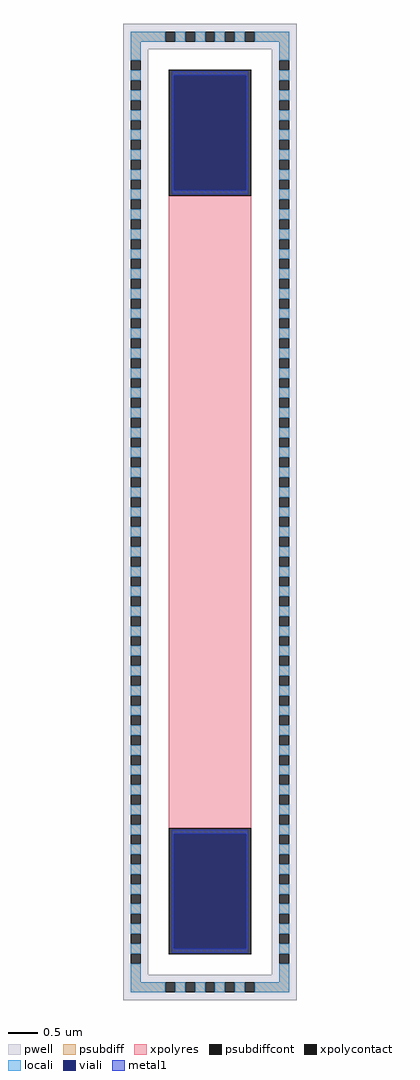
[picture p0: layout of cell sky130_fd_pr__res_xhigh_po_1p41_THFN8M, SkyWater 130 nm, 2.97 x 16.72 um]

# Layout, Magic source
magic
tech sky130A
magscale 1 2
<< pwell >>
rect -297 1586 297 1672
rect -297 -1586 -211 1586
rect 211 -1586 297 1586
rect -297 -1672 297 -1586
<< psubdiff >>
rect -271 1612 -153 1646
rect -119 1612 -85 1646
rect -51 1612 -17 1646
rect 17 1612 51 1646
rect 85 1612 119 1646
rect 153 1612 271 1646
rect -271 1547 -237 1612
rect 237 1547 271 1612
rect -271 1479 -237 1513
rect -271 1411 -237 1445
rect -271 1343 -237 1377
rect -271 1275 -237 1309
rect -271 1207 -237 1241
rect -271 1139 -237 1173
rect -271 1071 -237 1105
rect -271 1003 -237 1037
rect -271 935 -237 969
rect -271 867 -237 901
rect -271 799 -237 833
rect -271 731 -237 765
rect -271 663 -237 697
rect -271 595 -237 629
rect -271 527 -237 561
rect -271 459 -237 493
rect -271 391 -237 425
rect -271 323 -237 357
rect -271 255 -237 289
rect -271 187 -237 221
rect -271 119 -237 153
rect -271 51 -237 85
rect -271 -17 -237 17
rect -271 -85 -237 -51
rect -271 -153 -237 -119
rect -271 -221 -237 -187
rect -271 -289 -237 -255
rect -271 -357 -237 -323
rect -271 -425 -237 -391
rect -271 -493 -237 -459
rect -271 -561 -237 -527
rect -271 -629 -237 -595
rect -271 -697 -237 -663
rect -271 -765 -237 -731
rect -271 -833 -237 -799
rect -271 -901 -237 -867
rect -271 -969 -237 -935
rect -271 -1037 -237 -1003
rect -271 -1105 -237 -1071
rect -271 -1173 -237 -1139
rect -271 -1241 -237 -1207
rect -271 -1309 -237 -1275
rect -271 -1377 -237 -1343
rect -271 -1445 -237 -1411
rect -271 -1513 -237 -1479
rect 237 1479 271 1513
rect 237 1411 271 1445
rect 237 1343 271 1377
rect 237 1275 271 1309
rect 237 1207 271 1241
rect 237 1139 271 1173
rect 237 1071 271 1105
rect 237 1003 271 1037
rect 237 935 271 969
rect 237 867 271 901
rect 237 799 271 833
rect 237 731 271 765
rect 237 663 271 697
rect 237 595 271 629
rect 237 527 271 561
rect 237 459 271 493
rect 237 391 271 425
rect 237 323 271 357
rect 237 255 271 289
rect 237 187 271 221
rect 237 119 271 153
rect 237 51 271 85
rect 237 -17 271 17
rect 237 -85 271 -51
rect 237 -153 271 -119
rect 237 -221 271 -187
rect 237 -289 271 -255
rect 237 -357 271 -323
rect 237 -425 271 -391
rect 237 -493 271 -459
rect 237 -561 271 -527
rect 237 -629 271 -595
rect 237 -697 271 -663
rect 237 -765 271 -731
rect 237 -833 271 -799
rect 237 -901 271 -867
rect 237 -969 271 -935
rect 237 -1037 271 -1003
rect 237 -1105 271 -1071
rect 237 -1173 271 -1139
rect 237 -1241 271 -1207
rect 237 -1309 271 -1275
rect 237 -1377 271 -1343
rect 237 -1445 271 -1411
rect 237 -1513 271 -1479
rect -271 -1612 -237 -1547
rect 237 -1612 271 -1547
rect -271 -1646 -153 -1612
rect -119 -1646 -85 -1612
rect -51 -1646 -17 -1612
rect 17 -1646 51 -1612
rect 85 -1646 119 -1612
rect 153 -1646 271 -1612
<< psubdiffcont >>
rect -153 1612 -119 1646
rect -85 1612 -51 1646
rect -17 1612 17 1646
rect 51 1612 85 1646
rect 119 1612 153 1646
rect -271 1513 -237 1547
rect -271 1445 -237 1479
rect -271 1377 -237 1411
rect -271 1309 -237 1343
rect -271 1241 -237 1275
rect -271 1173 -237 1207
rect -271 1105 -237 1139
rect -271 1037 -237 1071
rect -271 969 -237 1003
rect -271 901 -237 935
rect -271 833 -237 867
rect -271 765 -237 799
rect -271 697 -237 731
rect -271 629 -237 663
rect -271 561 -237 595
rect -271 493 -237 527
rect -271 425 -237 459
rect -271 357 -237 391
rect -271 289 -237 323
rect -271 221 -237 255
rect -271 153 -237 187
rect -271 85 -237 119
rect -271 17 -237 51
rect -271 -51 -237 -17
rect -271 -119 -237 -85
rect -271 -187 -237 -153
rect -271 -255 -237 -221
rect -271 -323 -237 -289
rect -271 -391 -237 -357
rect -271 -459 -237 -425
rect -271 -527 -237 -493
rect -271 -595 -237 -561
rect -271 -663 -237 -629
rect -271 -731 -237 -697
rect -271 -799 -237 -765
rect -271 -867 -237 -833
rect -271 -935 -237 -901
rect -271 -1003 -237 -969
rect -271 -1071 -237 -1037
rect -271 -1139 -237 -1105
rect -271 -1207 -237 -1173
rect -271 -1275 -237 -1241
rect -271 -1343 -237 -1309
rect -271 -1411 -237 -1377
rect -271 -1479 -237 -1445
rect -271 -1547 -237 -1513
rect 237 1513 271 1547
rect 237 1445 271 1479
rect 237 1377 271 1411
rect 237 1309 271 1343
rect 237 1241 271 1275
rect 237 1173 271 1207
rect 237 1105 271 1139
rect 237 1037 271 1071
rect 237 969 271 1003
rect 237 901 271 935
rect 237 833 271 867
rect 237 765 271 799
rect 237 697 271 731
rect 237 629 271 663
rect 237 561 271 595
rect 237 493 271 527
rect 237 425 271 459
rect 237 357 271 391
rect 237 289 271 323
rect 237 221 271 255
rect 237 153 271 187
rect 237 85 271 119
rect 237 17 271 51
rect 237 -51 271 -17
rect 237 -119 271 -85
rect 237 -187 271 -153
rect 237 -255 271 -221
rect 237 -323 271 -289
rect 237 -391 271 -357
rect 237 -459 271 -425
rect 237 -527 271 -493
rect 237 -595 271 -561
rect 237 -663 271 -629
rect 237 -731 271 -697
rect 237 -799 271 -765
rect 237 -867 271 -833
rect 237 -935 271 -901
rect 237 -1003 271 -969
rect 237 -1071 271 -1037
rect 237 -1139 271 -1105
rect 237 -1207 271 -1173
rect 237 -1275 271 -1241
rect 237 -1343 271 -1309
rect 237 -1411 271 -1377
rect 237 -1479 271 -1445
rect 237 -1547 271 -1513
rect -153 -1646 -119 -1612
rect -85 -1646 -51 -1612
rect -17 -1646 17 -1612
rect 51 -1646 85 -1612
rect 119 -1646 153 -1612
<< xpolycontact >>
rect -141 1084 141 1516
rect -141 -1516 141 -1084
<< xpolyres >>
rect -141 -1084 141 1084
<< locali >>
rect -271 1612 -153 1646
rect -119 1612 -85 1646
rect -51 1612 -17 1646
rect 17 1612 51 1646
rect 85 1612 119 1646
rect 153 1612 271 1646
rect -271 1547 -237 1612
rect 237 1547 271 1612
rect -271 1479 -237 1513
rect -271 1411 -237 1445
rect -271 1343 -237 1377
rect -271 1275 -237 1309
rect -271 1207 -237 1241
rect -271 1139 -237 1173
rect -271 1071 -237 1105
rect 237 1479 271 1513
rect 237 1411 271 1445
rect 237 1343 271 1377
rect 237 1275 271 1309
rect 237 1207 271 1241
rect 237 1139 271 1173
rect -271 1003 -237 1037
rect -271 935 -237 969
rect -271 867 -237 901
rect -271 799 -237 833
rect -271 731 -237 765
rect -271 663 -237 697
rect -271 595 -237 629
rect -271 527 -237 561
rect -271 459 -237 493
rect -271 391 -237 425
rect -271 323 -237 357
rect -271 255 -237 289
rect -271 187 -237 221
rect -271 119 -237 153
rect -271 51 -237 85
rect -271 -17 -237 17
rect -271 -85 -237 -51
rect -271 -153 -237 -119
rect -271 -221 -237 -187
rect -271 -289 -237 -255
rect -271 -357 -237 -323
rect -271 -425 -237 -391
rect -271 -493 -237 -459
rect -271 -561 -237 -527
rect -271 -629 -237 -595
rect -271 -697 -237 -663
rect -271 -765 -237 -731
rect -271 -833 -237 -799
rect -271 -901 -237 -867
rect -271 -969 -237 -935
rect -271 -1037 -237 -1003
rect -271 -1105 -237 -1071
rect 237 1071 271 1105
rect 237 1003 271 1037
rect 237 935 271 969
rect 237 867 271 901
rect 237 799 271 833
rect 237 731 271 765
rect 237 663 271 697
rect 237 595 271 629
rect 237 527 271 561
rect 237 459 271 493
rect 237 391 271 425
rect 237 323 271 357
rect 237 255 271 289
rect 237 187 271 221
rect 237 119 271 153
rect 237 51 271 85
rect 237 -17 271 17
rect 237 -85 271 -51
rect 237 -153 271 -119
rect 237 -221 271 -187
rect 237 -289 271 -255
rect 237 -357 271 -323
rect 237 -425 271 -391
rect 237 -493 271 -459
rect 237 -561 271 -527
rect 237 -629 271 -595
rect 237 -697 271 -663
rect 237 -765 271 -731
rect 237 -833 271 -799
rect 237 -901 271 -867
rect 237 -969 271 -935
rect 237 -1037 271 -1003
rect -271 -1173 -237 -1139
rect -271 -1241 -237 -1207
rect -271 -1309 -237 -1275
rect -271 -1377 -237 -1343
rect -271 -1445 -237 -1411
rect -271 -1513 -237 -1479
rect 237 -1105 271 -1071
rect 237 -1173 271 -1139
rect 237 -1241 271 -1207
rect 237 -1309 271 -1275
rect 237 -1377 271 -1343
rect 237 -1445 271 -1411
rect 237 -1513 271 -1479
rect -271 -1612 -237 -1547
rect 237 -1612 271 -1547
rect -271 -1646 -153 -1612
rect -119 -1646 -85 -1612
rect -51 -1646 -17 -1612
rect 17 -1646 51 -1612
rect 85 -1646 119 -1612
rect 153 -1646 271 -1612
<< viali >>
rect -125 1102 125 1496
rect -125 -1497 125 -1103
<< metal1 >>
rect -131 1496 131 1510
rect -131 1102 -125 1496
rect 125 1102 131 1496
rect -131 1089 131 1102
rect -131 -1103 131 -1089
rect -131 -1497 -125 -1103
rect 125 -1497 131 -1103
rect -131 -1510 131 -1497
<< properties >>
string FIXED_BBOX -254 -1629 254 1629
<< end >>
